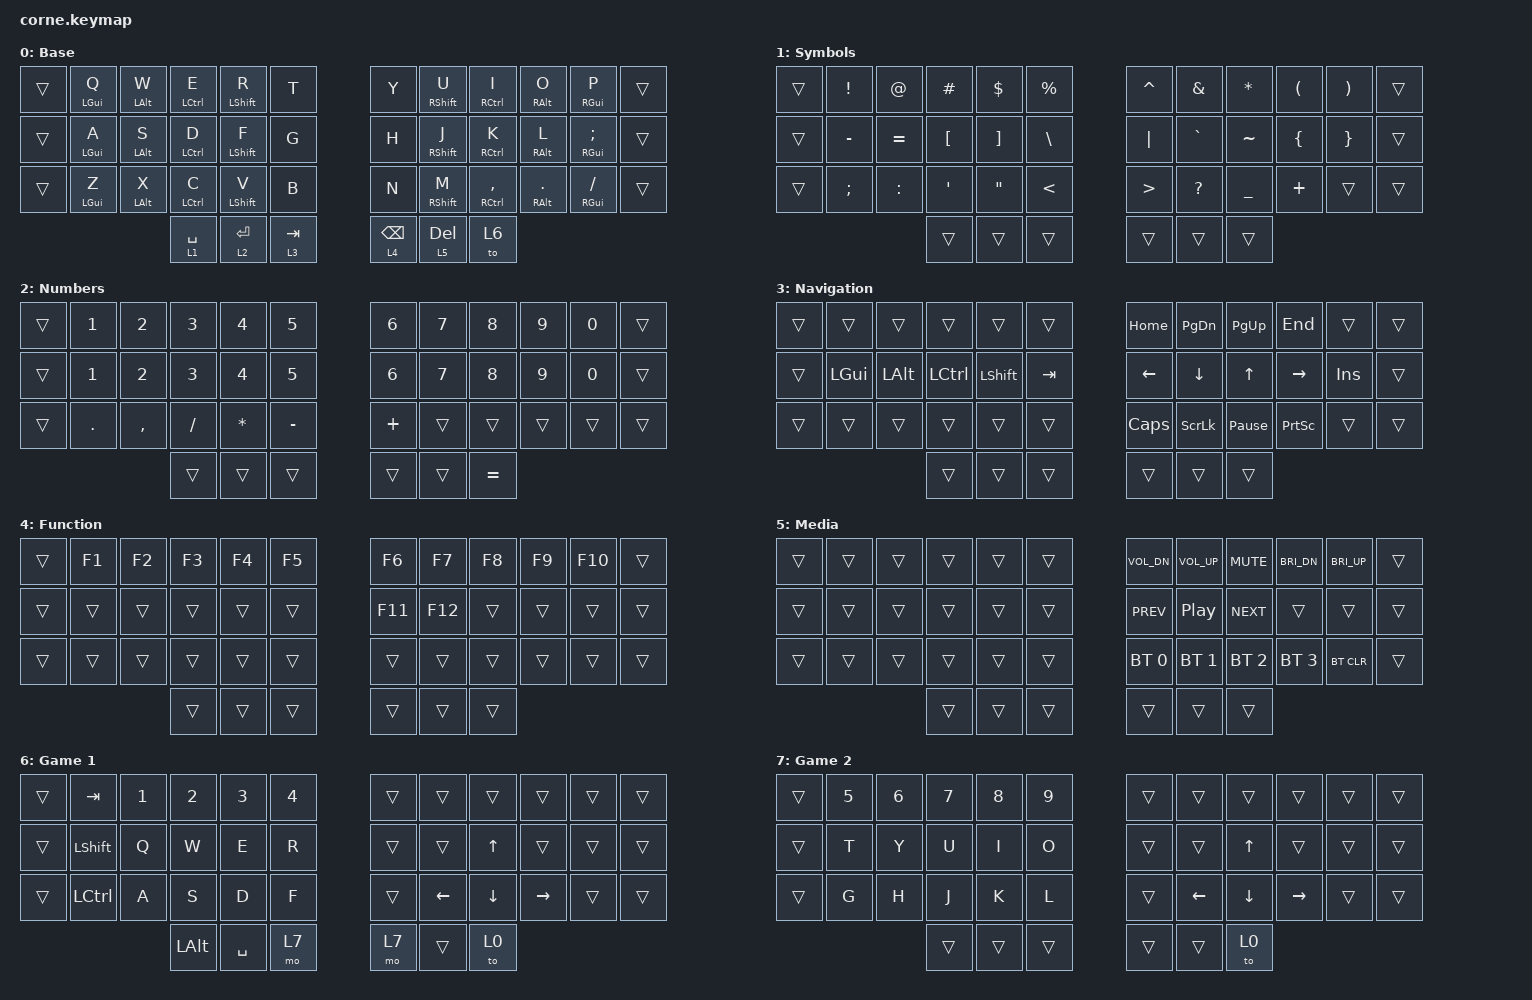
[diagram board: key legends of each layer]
#include <behaviors.dtsi>
#include <dt-bindings/zmk/keys.h>
#include <dt-bindings/zmk/bt.h>
#include <dt-bindings/zmk/outputs.h>
#include <dt-bindings/zmk/mouse.h>

/ {
    behaviors {
        ht: hold_tap {
            compatible = "zmk,behavior-hold-tap";
            #binding-cells = <2>;
            tapping-term-ms = <280>;
            quick-tap-ms = <150>;
            flavor = "tap-preferred";
            bindings = <&kp>, <&kp>;
        };
    };

    keymap {
        compatible = "zmk,keymap";

        // Base layer: QWERTY с homerow mods
        base {
            label = "Base";
            bindings = <
                &trans  &ht LGUI Q   &ht LALT W   &ht LCTRL E   &ht LSHIFT R   &kp T        &kp Y        &ht RSHIFT U   &ht RCTRL I         &ht RALT O    &ht RGUI P    &trans
                &trans  &ht LGUI A   &ht LALT S   &ht LCTRL D   &ht LSHIFT F   &kp G        &kp H        &ht RSHIFT J   &ht RCTRL K         &ht RALT L    &ht RGUI SEMI &trans
                &trans  &ht LGUI Z   &ht LALT X   &ht LCTRL C   &ht LSHIFT V   &kp B        &kp N        &ht RSHIFT M   &ht RCTRL COMMA     &ht RALT DOT  &ht RGUI FSLH &trans
                        &lt 1 SPACE               &lt 2 ENTER                  &lt 3 TAB    &lt 4 BSPC                  &lt 5 DEL                         &to 6
            >;
        };

        // Layer 1: Symbols
        symbols {
            label = "Symbols";
            bindings = <
                &trans  &kp EXCL   &kp AT     &kp HASH   &kp DLLR   &kp PRCNT   &kp CARET   &kp AMPS   &kp ASTRK   &kp LPAR   &kp RPAR  &trans
                &trans  &kp MINUS  &kp EQUAL  &kp LBKT   &kp RBKT   &kp BSLH    &kp PIPE    &kp GRAVE  &kp TILDE   &kp LBRC   &kp RBRC  &trans
                &trans  &kp SEMI   &kp COLON  &kp SQT    &kp DQT    &kp LT      &kp GT      &kp QMARK  &kp UNDER   &kp PLUS   &trans    &trans
                        &trans     &trans     &trans                            &trans                 &trans                 &trans
            >;
        };

        // Layer 2: Numbers & Numpad
        numbers {
            label = "Numbers";
            bindings = <
                &trans  &kp N1   &kp N2      &kp N3      &kp N4        &kp N5       &kp N6      &kp N7      &kp N8    &kp N9    &kp N0     &trans
                &trans  &kp 1    &kp 2       &kp 3       &kp 4         &kp 5        &kp 6       &kp 7       &kp 8     &kp 9     &kp 0      &trans
                &trans  &kp DOT  &kp COMMA   &kp FSLH    &kp ASTRK     &kp MINUS    &kp PLUS    &trans      &trans    &trans    &trans     &trans
                        &trans               &trans                    &trans       &trans                  &trans              &kp EQUAL
            >;
        };

        // Layer 3: Navigation
        nav {
            label = "Navigation";
            bindings = <
                &trans  &trans     &trans     &trans      &trans        &trans        &kp HOME    &kp PG_DN        &kp PG_UP         &kp END      &trans   &trans
                &trans  &kp LGUI   &kp LALT   &kp LCTRL   &kp LSHIFT    &kp TAB       &kp LEFT    &kp DOWN         &kp UP            &kp RIGHT    &kp INS  &trans
                &trans  &trans     &trans     &trans      &trans        &trans        &kp CAPS    &kp SCROLLLOCK   &kp PAUSE_BREAK   &kp PSCRN    &trans   &trans
                        &trans                &trans                    &trans        &trans                       &trans                         &trans
            >;
        };

        // Layer 4: Function keys
        function {
            label = "Function";
            bindings = <
                &trans  &kp F1   &kp F2   &kp F3   &kp F4   &kp F5       &kp F6    &kp F7   &kp F8   &kp F9    &kp F10  &trans
                &trans  &trans   &trans   &trans   &trans   &trans       &kp F11   &kp F12  &trans   &trans    &trans   &trans
                &trans  &trans   &trans   &trans   &trans   &trans       &trans    &trans   &trans   &trans    &trans   &trans
                        &trans            &trans            &trans       &trans             &trans             &trans
            >;
        };

        // Layer 5: Media & System
        media {
            label = "Media";
            bindings = <
                &trans  &trans   &trans   &trans   &trans   &trans       &kp C_VOL_DN   &kp C_VOL_UP   &kp C_MUTE     &kp C_BRI_DN   &kp C_BRI_UP   &trans
                &trans  &trans   &trans   &trans   &trans   &trans       &kp C_PREV     &kp C_PP       &kp C_NEXT     &trans         &trans         &trans
                &trans  &trans   &trans   &trans   &trans   &trans       &bt BT_SEL 0   &bt BT_SEL 1   &bt BT_SEL 2   &bt BT_SEL 3   &bt BT_CLR     &trans
                        &trans            &trans            &trans       &trans                        &trans                        &trans
            >;
        };

        // Layer 6: Game 1
        game1 {
            label = "Game 1";
            bindings = <
                &trans      &kp TAB      &kp 1      &kp 2        &kp 3      &kp 4          &trans    &trans    &trans    &trans      &trans      &trans
                &trans      &kp LSHIFT   &kp Q      &kp W        &kp E      &kp R          &trans    &trans    &kp UP    &trans      &trans      &trans
                &trans      &kp LCTRL    &kp A      &kp S        &kp D      &kp F          &trans    &kp LEFT  &kp DOWN  &kp RIGHT   &trans      &trans
                            &kp LALT                &kp SPACE               &mo 7          &mo 7               &trans                &to 0
            >;
        };

        // Layer 7: Game 2
        game2 {
            label = "Game 2";
            bindings = <
                &trans      &kp 5       &kp 6        &kp 7      &kp 8       &kp 9          &trans    &trans    &trans    &trans      &trans      &trans
                &trans      &kp T       &kp Y        &kp U      &kp I       &kp O          &trans    &trans    &kp UP    &trans      &trans      &trans
                &trans      &kp G       &kp H        &kp J      &kp K       &kp L          &trans    &kp LEFT  &kp DOWN  &kp RIGHT   &trans      &trans
                            &trans                   &trans                 &trans         &trans              &trans                &to 0
            >;
        };
    };
};
